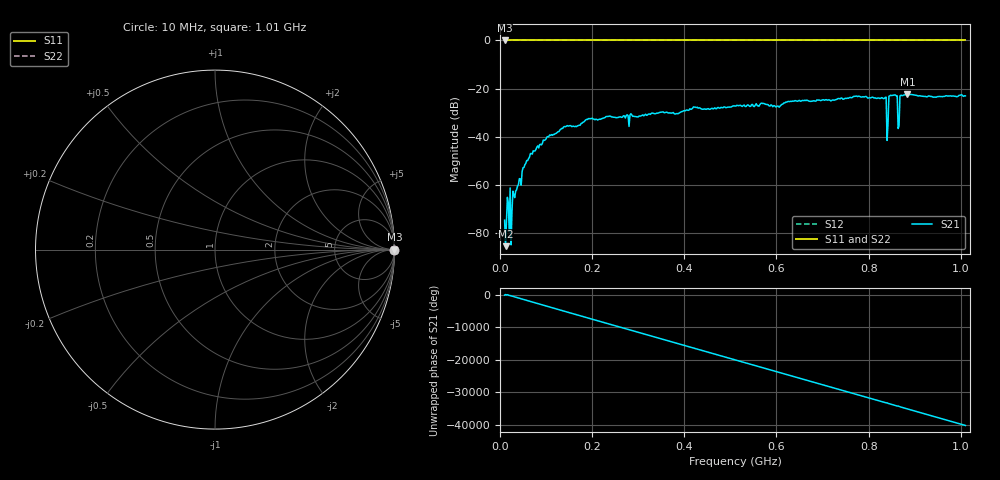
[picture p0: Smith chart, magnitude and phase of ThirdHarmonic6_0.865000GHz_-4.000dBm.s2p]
! 8/16/2025 4:34:19 AM
! C:\ANRITSUVNA\TEMP\TEMP.S2P
! CHANNEL.1
! TR.MEASUREMENT
! RAW.DATA
! RF.CORRECTION.OFF
! AVERAGING.OFF
! IF.BANDWIDTH: 5KHZ
! SWEEPTYPE:  FREQ.SWEEP(Linear)
! Reference Plane Port Info
! PORT:  PORT1  PORT2
! DISTANCE:  0  m  0  m
! TIME:  0  s  0  s
! PHASE.OFFSET:  0  deg.  0  deg.
! LOSS:  0  dB  0  dB
! REF.LOSS:  0  dB  0  dB
! REF.FREQ:  0  Hz  0  Hz
! Power Info
! POWER:  -20  dBm  -20  dBm
! EFF.POWER:  -20  dBm  -20  dBm
! SOURCE.ATTEN:  0  dB  0  dB
! TEST.ATTEN:  0  dB  0  dB
# GHZ S RI R 50.0
! FREQ.GHZ  S11RE  S11IM  S21RE  S21IM  S12RE  S12IM  S22RE  S22IM
!; PortSelection: Port_12
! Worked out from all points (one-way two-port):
!   501 points, 10 MHz to 1.01 GHz, reference 50 ohm
!   highest |S21| = -22.38 dB at 884 MHz (marker M1); lowest = -85.4 dB at 12 MHz (marker M2)
!   lowest |S11| = 0.0 dB at 10 MHz (marker M3)
!   |S11| at or under -10 dB: nowhere
!   |S22| runs from 0.0 to 0.0 dB; largest |S21 - S12| = 1.1
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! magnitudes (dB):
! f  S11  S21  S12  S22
! 10 MHz  0.0  -74.7  0.0  0.0
! 12 MHz  0.0  -85.4  0.0  0.0
! 16 MHz  0.0  -65.1  0.0  0.0
! 18 MHz  0.0  -67.4  0.0  0.0
! 22 MHz  0.0  -61.3  0.0  0.0
! 52 MHz  0.0  -52.8  0.0  0.0
! 70 MHz  0.0  -47.2  0.0  0.0
! 106 MHz  0.0  -39.9  0.0  0.0
! 178 MHz  0.0  -34.4  0.0  0.0
! 344 MHz  0.0  -30.1  0.0  0.0
! 510 MHz  0.0  -27.2  0.0  0.0
! 678 MHz  0.0  -25.2  0.0  0.0
! 834 MHz  0.0  -24.1  0.0  0.0
! 838 MHz  0.0  -23.6  0.0  0.0
! 844 MHz  0.0  -23.2  0.0  0.0
! 848 MHz  0.0  -22.8  0.0  0.0
! 858 MHz  0.0  -22.6  0.0  0.0
! 864 MHz  0.0  -36.6  0.0  0.0
! 868 MHz  0.0  -23.1  0.0  0.0
! 872 MHz  0.0  -22.9  0.0  0.0
! 884 MHz  0.0  -22.4  0.0  0.0
! 1.01 GHz  0.0  -23.0  0.0  0.0
